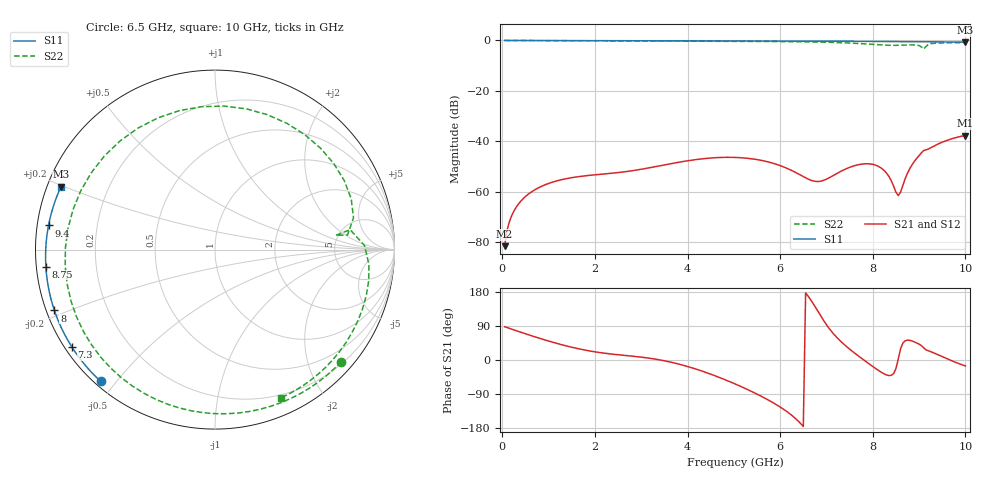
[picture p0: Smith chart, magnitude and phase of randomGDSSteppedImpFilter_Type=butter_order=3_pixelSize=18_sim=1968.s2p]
! freq	dB(S11)	phase(S11)	dB(S12)	phase(S12)
!  dB(S21)	phase(S21)	dB(S22)	phase(S22)
!S-par simulation data
#  GHz  S  DB  R 50
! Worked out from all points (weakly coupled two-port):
!   200 points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, 50 MHz to 10 GHz, reference 50 ohm
!   highest |S21| = -37.76 dB at 10 GHz (marker M1); lowest = -81.7 dB at 50 MHz (marker M2)
!   lowest |S11| = -0.7 dB at 10 GHz (marker M3), VSWR 26.30, Z = 1.97 + j9.82 ohm
!   |S11| at or under -10 dB: nowhere
!   |S22| runs from -3.4 to 0.0 dB; largest |S21 - S12| = 0
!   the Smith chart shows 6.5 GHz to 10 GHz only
!   S11 on the Smith chart (normalised r, x): 6.5 GHz: 0.02, -0.46; 7.3 GHz: 0.02, -0.31; 8 GHz: 0.02, -0.18; 8.75 GHz: 0.03, -0.05; 9.4 GHz: 0.03, +0.07; 10 GHz: 0.04, +0.20
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0.05  -0.00 -1.1  -81.69 87.9  -81.69 87.9  -0.00 -3.1
0.2  -0.01 -4.5  -69.69 81.5  -69.69 81.5  -0.02 -12.4
0.5  -0.01 -11.1  -61.98 69.2  -61.98 69.2  -0.04 -30.9
1.15  -0.03 -25.3  -55.90 44.7  -55.90 44.7  -0.09 -70.0
1.75  -0.05 -38.2  -53.83 27.0  -53.83 27.0  -0.12 -104.7
2.65  -0.07 -57.1  -52.13 12.0  -52.13 12.0  -0.17 -155.3
3.4  -0.10 -72.3  -49.78 0.3  -49.78 0.3  -0.22 161.9
4.3  -0.13 -89.9  -47.04 -28.7  -47.04 -28.7  -0.28 106.9
5.05  -0.16 -104.1  -46.46 -64.4  -46.46 -64.4  -0.34 57.6
5.8  -0.20 -118.0  -48.52 -109.4  -48.52 -109.4  -0.41 6.6
6.5  -0.25 -131.0  -54.07 -175.5  -54.07 -175.5  -0.53 -41.5
6.7  -0.26 -134.7  -55.71 151.3  -55.71 151.3  -0.59 -55.7
7.3  -0.31 -145.9  -52.08 50.1  -52.08 50.1  -0.87 -102.6
7.65  -0.35 -152.5  -49.51 14.3  -49.51 14.3  -1.17 -136.6
8  -0.38 -159.2  -49.21 -17.2  -49.21 -17.2  -1.58 179.4
8.35  -0.42 -166.1  -54.07 -41.1  -54.07 -41.1  -1.92 122.3
8.55  -0.45 -170.2  -61.62 2.4  -61.62 2.4  -1.93 86.4
8.75  -0.47 -174.3  -52.69 52.5  -52.69 52.5  -1.80 52.0
8.95  -0.50 -178.5  -46.80 44.9  -46.80 44.9  -1.83 20.5
9.1  -0.52 178.3  -43.70 32.0  -43.70 32.0  -3.38 6.7
9.4  -0.56 171.8  -41.20 14.2  -41.20 14.2  -1.05 -22.1
10  -0.66 157.7  -37.76 -15.7  -37.76 -15.7  -0.88 -66.1
